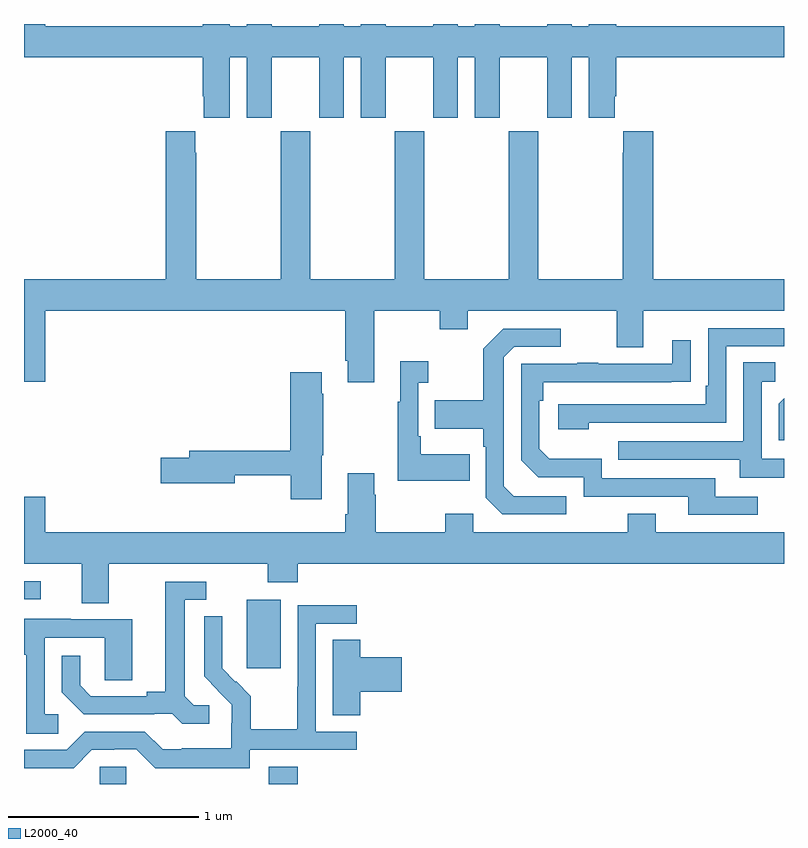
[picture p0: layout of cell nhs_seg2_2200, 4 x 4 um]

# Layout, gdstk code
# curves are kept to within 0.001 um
import gdstk
lib = gdstk.Library(unit=1e-6, precision=1e-09)
def R(c, l, rs):  # rectangles x0, y0, x1, y1
    for r in rs: c.add(gdstk.rectangle(r[:2], r[2:], *l))
def P(c, l, *ps):  # polygons
    for p in ps: c.add(gdstk.Polygon(p, *l))
L2000_40 = (2000, 40)

nhs_seg2_2200 = lib.new_cell('nhs_seg2_2200')
R(nhs_seg2_2200, L2000_40, [(225.399,655.8,225.537,655.89), (226.289,655.8,226.442,655.891), (226.172,656.409,226.351,656.77), (225,656.772,225.088,656.868)])
P(nhs_seg2_2200, L2000_40, [(226.084,659.624),(226.172,659.624),(226.172,659.307),(226.303,659.307),(226.303,659.624),(226.553,659.624),(226.553,659.307),(226.684,659.307),(226.684,659.624),(226.772,659.624),(226.772,659.307),(226.903,659.307),(226.903,659.624),(227.153,659.624),(227.153,659.307),(227.284,659.307),(227.284,659.624),(227.372,659.624),(227.372,659.307),(227.503,659.307),(227.503,659.624),(227.753,659.624),(227.753,659.307),(227.884,659.307),(227.884,659.624),(227.972,659.624),(227.972,659.307),(228.109,659.307),(228.109,659.419),(228.116,659.419),(228.116,659.624),(229,659.624),(229,659.788),(228.116,659.788),(228.116,659.8),(227.972,659.8),(227.972,659.788),(227.884,659.788),(227.884,659.8),(227.753,659.8),(227.753,659.788),(227.503,659.788),(227.503,659.8),(227.372,659.8),(227.372,659.788),(227.284,659.788),(227.284,659.8),(227.153,659.8),(227.153,659.788),(226.903,659.788),(226.903,659.8),(226.772,659.8),(226.772,659.788),(226.684,659.788),(226.684,659.8),(226.553,659.8),(226.553,659.788),(226.303,659.788),(226.303,659.8),(226.172,659.8),(226.172,659.788),(226.084,659.788),(226.084,659.8),(225.941,659.8),(225.941,659.788),(225.112,659.788),(225.112,659.8),(225,659.8),(225,659.624),(225.941,659.624),(225.941,659.419),(225.947,659.419),(225.947,659.307),(226.084,659.307)],
  [(226.843,658.292),(227.188,658.292),(227.188,658.193),(227.335,658.193),(227.335,658.292),(228.119,658.292),(228.119,658.098),(228.259,658.098),(228.259,658.292),(229,658.292),(229,658.456),(228.311,658.456),(228.311,659.236),(228.155,659.236),(228.155,659.123),(228.151,659.123),(228.151,658.456),(227.706,658.456),(227.706,659.236),(227.551,659.236),(227.551,658.456),(227.106,658.456),(227.106,659.236),(226.951,659.236),(226.951,658.456),(226.506,658.456),(226.506,659.236),(226.351,659.236),(226.351,658.456),(225.906,658.456),(225.906,659.123),(225.901,659.123),(225.901,659.236),(225.746,659.236),(225.746,658.456),(225,658.456),(225,657.918),(225.112,657.918),(225.112,658.292),(226.691,658.292),(226.691,658.027),(226.703,658.027),(226.703,657.915),(226.843,657.915)],
  [(227.972,657.702),(228.696,657.702),(228.696,658.104),(229,658.103),(229,658.2),(228.6,658.2),(228.6,657.895),(228.587,657.895),(228.587,657.798),(227.811,657.798),(227.811,657.668),(227.972,657.668)],
  [(227.854,657.315),(227.577,657.315),(227.526,657.366),(227.526,658.047),(227.58,658.101),(227.824,658.101),(227.824,658.197),(227.523,658.197),(227.418,658.091),(227.418,657.819),(227.161,657.819),(227.161,657.671),(227.418,657.671),(227.418,657.575),(227.43,657.575),(227.43,657.306),(227.517,657.219),(227.854,657.219)],
  [(228.862,657.312),(228.637,657.312),(228.637,657.408),(228.042,657.408),(228.042,657.511),(227.765,657.511),(227.712,657.564),(227.712,657.818),(227.732,657.818),(227.732,657.915),(228.509,657.916),(228.509,658.135),(228.413,658.135),(228.413,658.011),(228.023,658.011),(228.023,658.016),(227.911,658.016),(227.911,658.011),(227.616,658.011),(227.616,657.504),(227.706,657.414),(227.946,657.414),(227.946,657.312),(228.497,657.312),(228.497,657.216),(228.862,657.216)],
  [(227.345,657.535),(227.089,657.535),(227.089,657.631),(227.076,657.631),(227.076,657.911),(227.128,657.911),(227.128,658.024),(226.979,658.024),(226.979,657.811),(226.968,657.811),(226.968,657.395),(227.345,657.395)],
  [(229,657.513),(228.882,657.513),(228.882,657.918),(228.955,657.918),(228.955,658.019),(228.786,658.019),(228.786,657.603),(228.127,657.603),(228.127,657.507),(228.767,657.507),(228.767,657.413),(229,657.413)],
  [(226.567,657.531),(226.575,657.531),(226.575,657.854),(226.567,657.854),(226.567,657.967),(226.4,657.967),(226.4,657.554),(225.869,657.554),(225.869,657.518),(225.72,657.518),(225.72,657.383),(226.108,657.383),(226.108,657.426),(226.405,657.426),(226.405,657.3),(226.567,657.3)],
  [(229,657.83),(228.972,657.802),(228.972,657.609),(229,657.609)],
  [(225.445,656.96),(226.282,656.96),(226.282,656.861),(226.442,656.861),(226.442,656.96),(229,656.96),(229,657.124),(228.325,657.124),(228.325,657.223),(228.178,657.223),(228.178,657.124),(227.364,657.124),(227.364,657.223),(227.218,657.223),(227.218,657.124),(226.851,657.124),(226.851,657.323),(226.843,657.323),(226.843,657.436),(226.703,657.436),(226.703,657.22),(226.691,657.22),(226.691,657.124),(225.112,657.124),(225.112,657.313),(225,657.313),(225,656.96),(225.305,656.96),(225.305,656.752),(225.445,656.752)],
  [(225.976,656.214),(225.894,656.214),(225.847,656.261),(225.847,656.769),(225.958,656.769),(225.958,656.865),(225.743,656.865),(225.743,656.285),(225.647,656.285),(225.647,656.262),(225.352,656.262),(225.295,656.319),(225.295,656.476),(225.198,656.476),(225.198,656.282),(225.314,656.166),(225.686,656.166),(225.686,656.169),(225.78,656.169),(225.832,656.117),(225.976,656.117)],
  [(226.188,655.98),(226.75,655.98),(226.75,656.076),(226.536,656.076),(226.536,656.643),(226.75,656.643),(226.75,656.742),(226.44,656.742),(226.44,656.312),(226.438,656.312),(226.438,656.089),(226.193,656.089),(226.193,656.263),(226.116,656.34),(226.113,656.337),(226.043,656.408),(226.044,656.684),(225.948,656.684),(225.948,656.366),(226.094,656.218),(226.094,656.121),(226.092,656.121),(226.092,655.987),(225.829,655.987),(225.829,655.983),(225.729,655.983),(225.636,656.076),(225.321,656.076),(225.225,655.98),(225,655.98),(225,655.884),(225.261,655.884),(225.357,655.98),(225.476,655.98),(225.476,655.983),(225.591,655.983),(225.691,655.883),(226.188,655.883)],
  [(225.181,656.166),(225.108,656.166),(225.108,656.571),(225.426,656.571),(225.426,656.347),(225.571,656.347),(225.571,656.667),(225.247,656.667),(225.247,656.671),(225,656.671),(225,656.481),(225.012,656.481),(225.012,656.065),(225.181,656.065)],
  [(226.769,656.285),(226.987,656.285),(226.987,656.468),(226.769,656.468),(226.769,656.558),(226.625,656.558),(226.625,656.161),(226.769,656.161)])

lib.write_gds('nhs_seg2_2200.gds')
